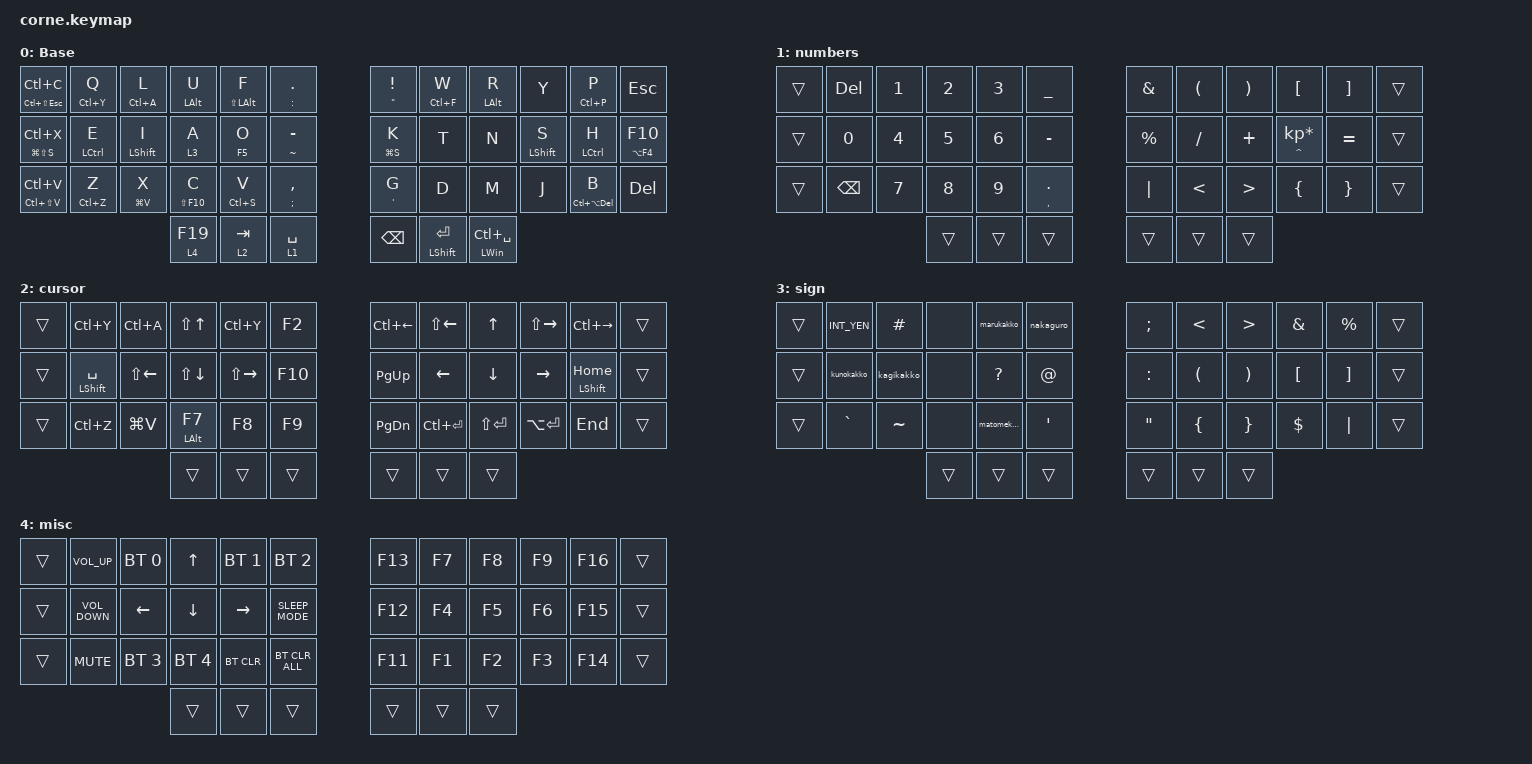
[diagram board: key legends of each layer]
/*
 * Copyright (c) 2020 The ZMK Contributors
 *
 * SPDX-License-Identifier: MIT
 */

#include <behaviors.dtsi>
#include <dt-bindings/zmk/bt.h>
#include <dt-bindings/zmk/keys.h>

&mt {
    tapping-term-ms = <250>;
    quick-tap-ms = <150>;
    flavor = "tap-preferred";
};

/ {
    macros {
        marukakko: henkan {
            compatible = "zmk,behavior-macro";
            #binding-cells = <0>;
            bindings = <&kp LEFT_PARENTHESIS &kp RIGHT_PARENTHESIS &kp LEFT_ARROW>;
            label = "HENKAN";
        };

        kagikakko: kagikakko {
            compatible = "zmk,behavior-macro";
            #binding-cells = <0>;
            bindings = <&kp LEFT_BRACKET &kp RIGHT_BRACKET &kp LEFT_ARROW>;
            label = "KAGIKAKKO";
        };

        kunokakko: kunokakko {
            compatible = "zmk,behavior-macro";
            #binding-cells = <0>;
            bindings = <&kp LESS_THAN &kp GREATER_THAN &kp LEFT_ARROW>;
            label = "KUNOKAKKO";
        };

        matomekakko: matomekakko {
            compatible = "zmk,behavior-macro";
            #binding-cells = <0>;
            bindings = <&kp LEFT_BRACE &kp RIGHT_BRACE &kp LEFT_ARROW>;
            label = "MATOMEKAKKO";
        };

        nakaguro: nakaguro {
            compatible = "zmk,behavior-macro";
            #binding-cells = <0>;
            bindings = <&kp N &kp A &kp K &kp A &kp G &kp U &kp R &kp O &kp SPACE>;
            label = "NAKAGURO";
        };

        dotcom: dotcom {
            compatible = "zmk,behavior-macro";
            #binding-cells = <0>;
            bindings = <&kp DOT &kp C &kp O &kp M>;
            label = "DOTCOM";
        };

        ryo: ryo {
            compatible = "zmk,behavior-macro";
            #binding-cells = <0>;
            bindings = <&kp R &kp Y &kp O &kp DOT &kp H &kp A &kp S &kp H &kp I &kp M &kp O &kp T &kp O &kp AT &kp N &kp T &kp T &kp DOT &kp C &kp O &kp M &kp F10>;
            label = "RYO";
        };
    };

    combos {
        compatible = "zmk,combos";

        numbers {
            bindings = <&to 1>;
            key-positions = <3 4>;
        };

        sign {
            bindings = <&to 3>;
            key-positions = <3 2>;
        };

        cursor {
            bindings = <&to 2>;
            key-positions = <27 28>;
        };

        misc {
            bindings = <&to 4>;
            key-positions = <1 4>;
        };

        base {
            bindings = <&to 0>;
            key-positions = <15 14 16 13>;
        };

        at {
            bindings = <&kp AT>;
            key-positions = <19 21>;
        };

        question {
            bindings = <&kp QUESTION>;
            key-positions = <19 20 21>;
        };

        nakaguro {
            bindings = <&nakaguro>;
            key-positions = <20 21 22 19 20 21 22>;
        };

        dotcom {
            bindings = <&dotcom>;
            key-positions = <7 10>;
        };

        ryo {
            bindings = <&ryo>;
            key-positions = <7 9>;
        };

        marukakko {
            bindings = <&marukakko>;
            key-positions = <19 20>;
        };

        kunokakko {
            bindings = <&kunokakko>;
            key-positions = <7 8>;
        };

        matomekakko {
            bindings = <&matomekakko>;
            key-positions = <31 32>;
        };

        kagikakko {
            bindings = <&kagikakko>;
            key-positions = <21 22>;
        };
    };

    behaviors {
        tapping250: tapping250 {
            compatible = "zmk,behavior-hold-tap";
            label = "TAPPING250";
            bindings = <&none>, <&none>;

            #binding-cells = <2>;
            tapping-term-ms = <250>;
            flavor = "tap-preferred";
            quick-tap-ms = <220>;
        };
    };

    keymap {
        compatible = "zmk,keymap";

        default_layer {
            // -----------------------------------------------------------------------------------------
            // |  TAB |  Q  |  W  |  E  |  R  |  T  |   |  Y  |  U   |  I  |  O  |  P  | BKSP |
            // | CTRL |  A  |  S  |  D  |  F  |  G  |   |  H  |  J   |  K  |  L  |  ;  |  '   |
            // | SHFT |  Z  |  X  |  C  |  V  |  B  |   |  N  |  M   |  ,  |  .  |  /  | ESC  |
            //                    | GUI | LWR | SPC |   | ENT | RSE  | ALT |

            display-name = "Base";
            bindings = <
&mt LC(LS(ESC)) LC(C)  &mt LC(Y) Q         &mt LC(A) L       &mt LEFT_ALT U  &mt LS(LEFT_ALT) F  &mt COLON PERIOD       &mt DOUBLE_QUOTES EXCLAMATION  &mt LC(F) W           &mt LEFT_ALT R          &kp Y             &mt LC(P) P         &kp ESC
&mt LG(LS(S)) LC(X)    &mt LEFT_CONTROL E  &mt LEFT_SHIFT I  &lt 3 A         &mt F5 O            &mt TILDE MINUS        &mt LG(S) K                    &kp T                 &kp N                   &mt LEFT_SHIFT S  &mt LEFT_CONTROL H  &mt LA(F4) F10
&mt LC(LS(V)) LC(V)    &mt LC(Z) Z         &mt LG(V) X       &mt LS(F10) C   &mt LC(S) V         &mt SEMICOLON COMMA    &mt SINGLE_QUOTE G             &kp D                 &kp M                   &kp J             &mt LC(LA(DEL)) B   &kp DELETE
                                                             &lt 4 F19       &lt 2 TAB           &lt 1 SPACE            &kp BACKSPACE                  &mt LEFT_SHIFT ENTER  &mt LEFT_WIN LC(SPACE)
            >;
        };

        layer_1 {
            // -----------------------------------------------------------------------------------------
            // |  TAB |  !  |  @  |  #  |  $  |  %  |   |  ^  |  &  |  *  |  (  |  )  | BKSP |
            // | CTRL |     |     |     |     |     |   |  -  |  =  |  [  |  ]  |  \  |  `   |
            // | SHFT |     |     |     |     |     |   |  _  |  +  |  {  |  }  | "|" |  ~   |
            //                    | GUI |     | SPC |   | ENT |     | ALT |

            display-name = "numbers";
            bindings = <
&trans  &kp DEL        &kp NUMBER_1  &kp NUMBER_2  &kp NUMBER_3  &kp UNDER           &kp AMPERSAND  &kp LEFT_PARENTHESIS  &kp RIGHT_PARENTHESIS  &kp LEFT_BRACKET       &kp RIGHT_BRACKET  &trans
&trans  &kp NUMBER_0   &kp NUMBER_4  &kp NUMBER_5  &kp NUMBER_6  &kp MINUS           &kp PERCENT    &kp SLASH             &kp PLUS               &mt CARET KP_MULTIPLY  &kp EQUAL          &trans
&trans  &kp BACKSPACE  &kp NUMBER_7  &kp NUMBER_8  &kp NUMBER_9  &mt COMMA PERIOD    &kp PIPE       &kp LESS_THAN         &kp GREATER_THAN       &kp LEFT_BRACE         &kp RIGHT_BRACE    &trans
                                     &trans        &trans        &trans              &trans         &trans                &trans
            >;
        };

        layer_2 {
            display-name = "cursor";
            bindings = <
&trans  &kp LC(Y)             &kp LC(A)           &kp LS(UP_ARROW)    &kp LC(Y)            &kp F2     &kp LC(LEFT_ARROW)  &kp LS(LEFT_ARROW)  &kp UP_ARROW    &kp LS(RIGHT_ARROW)  &kp LC(RIGHT_ARROW)  &trans
&trans  &mt LEFT_SHIFT SPACE  &kp LS(LEFT_ARROW)  &kp LS(DOWN_ARROW)  &kp LS(RIGHT_ARROW)  &kp F10    &kp PAGE_UP         &kp LEFT_ARROW      &kp DOWN_ARROW  &kp RIGHT_ARROW      &mt LEFT_SHIFT HOME  &trans
&trans  &kp LC(Z)             &kp LG(V)           &mt LEFT_ALT F7     &kp F8               &kp F9     &kp PAGE_DOWN       &kp LC(ENTER)       &kp LS(ENTER)   &kp LA(ENTER)        &kp END              &trans
                                                  &trans              &trans               &trans     &trans              &trans              &trans
            >;
        };

        layer_3 {
            // -----------------------------------------------------------------------------------------
            // |  TAB |  1  |  2  |  3  |  4  |  5  |   |  6  |  7  |  8  |  9  |  0  | BKSP |
            // | BTCLR| BT1 | BT2 | BT3 | BT4 | BT5 |   | LFT | DWN |  UP | RGT |     |      |
            // | SHFT |     |     |     |     |     |   |     |     |     |     |     |      |
            //                    | GUI |     | SPC |   | ENT |     | ALT |

            display-name = "sign";
            bindings = <
&trans  &kp INT_YEN  &kp HASH    &none   &marukakko    &nakaguro           &kp SEMICOLON      &kp LESS_THAN         &kp GREATER_THAN       &kp AMPERSAND     &kp PERCENT        &trans
&trans  &kunokakko   &kagikakko  &none   &kp QUESTION  &kp AT_SIGN         &kp COLON          &kp LEFT_PARENTHESIS  &kp RIGHT_PARENTHESIS  &kp LEFT_BRACKET  &kp RIGHT_BRACKET  &trans
&trans  &kp GRAVE    &kp TILDE   &none   &matomekakko  &kp SINGLE_QUOTE    &kp DOUBLE_QUOTES  &kp LEFT_BRACE        &kp RIGHT_BRACE        &kp DOLLAR        &kp PIPE           &trans
                                 &trans  &trans        &trans              &trans             &trans                &trans
            >;
        };

        layer_4 {
            display-name = "misc";
            bindings = <
&trans  &kp C_VOLUME_UP    &bt BT_SEL 0    &kp UP_ARROW    &bt BT_SEL 1     &bt BT_SEL 2        &kp F13  &kp F7  &kp F8  &kp F9  &kp F16  &trans
&trans  &kp C_VOLUME_DOWN  &kp LEFT_ARROW  &kp DOWN_ARROW  &kp RIGHT_ARROW  &kp C_SLEEP_MODE    &kp F12  &kp F4  &kp F5  &kp F6  &kp F15  &trans
&trans  &kp K_MUTE         &bt BT_SEL 3    &bt BT_SEL 4    &bt BT_CLR       &bt BT_CLR_ALL      &kp F11  &kp F1  &kp F2  &kp F3  &kp F14  &trans
                                           &trans          &trans           &trans              &trans   &trans  &trans
            >;
        };

        extra_1 { status = "reserved"; };

        extra_2 { status = "reserved"; };
    };
};
